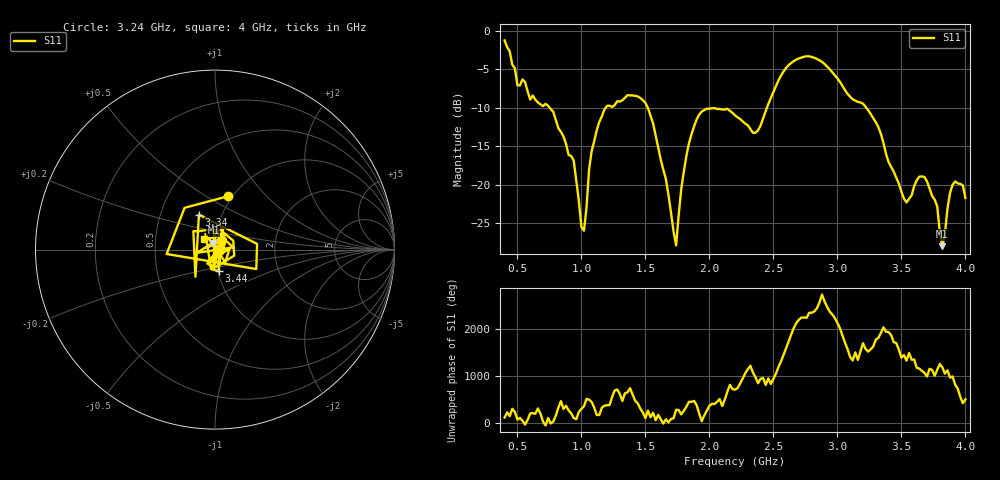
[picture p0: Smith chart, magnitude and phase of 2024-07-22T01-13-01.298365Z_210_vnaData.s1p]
!Created with skrf (http://scikit-rf.org).
# Hz S RI R 50.0
!freq ReS11 ImS11
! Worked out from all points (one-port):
!   181 points, 400 MHz to 4 GHz, reference 50 ohm
!   lowest |S11| = -28.0 dB at 3.82 GHz (marker M1), VSWR 1.08, Z = 49 + j3.83 ohm
!   |S11| at or under -10 dB: 751.8 MHz to 1.19 GHz (438.1 MHz wide, 45.1 % of centre); 1.519 GHz to 2.449 GHz (930.9 MHz wide, 46.9 % of centre); 3.226 GHz to end of sweep
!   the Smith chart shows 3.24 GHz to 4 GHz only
!   S11 on the Smith chart (normalised r, x): 3.24 GHz: 0.95, +0.62; 3.34 GHz: 0.78, +0.32; 3.44 GHz: 1.01, -0.25; 4 GHz: 0.88, +0.10
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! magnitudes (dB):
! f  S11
! 400 MHz  -1.3
! 500 MHz  -7.1
! 860 MHz  -13.7
! 940 MHz  -16.9
! 1.02 GHz  -26.0
! 1.06 GHz  -18.0
! 1.12 GHz  -12.9
! 1.3 GHz  -9.2
! 1.5 GHz  -9.4
! 1.66 GHz  -19.2
! 1.74 GHz  -27.9
! 1.76 GHz  -23.9
! 1.82 GHz  -16.3
! 1.92 GHz  -10.9
! 2.2 GHz  -11.0
! 2.36 GHz  -13.2
! 2.66 GHz  -3.9
! 2.86 GHz  -3.8
! 3.1 GHz  -8.6
! 3.24 GHz  -10.3
! 3.34 GHz  -13.4
! 3.44 GHz  -18.3
! 3.56 GHz  -21.8
! 3.68 GHz  -19.0
! 3.78 GHz  -22.8
! 3.82 GHz  -28.0
! 3.9 GHz  -20.0
! 4 GHz  -21.7
